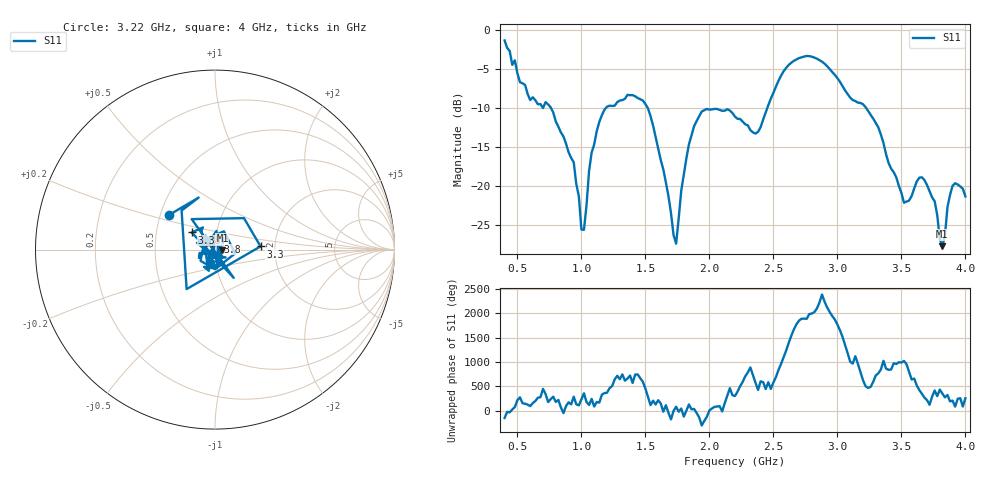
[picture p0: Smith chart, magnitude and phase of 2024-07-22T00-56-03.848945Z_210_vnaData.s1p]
!Created with skrf (http://scikit-rf.org).
# Hz S RI R 50.0
!freq ReS11 ImS11
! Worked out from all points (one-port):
!   181 points, 400 MHz to 4 GHz, reference 50 ohm
!   lowest |S11| = -27.7 dB at 3.82 GHz (marker M1), VSWR 1.09, Z = 54.3 - j0.475 ohm
!   |S11| at or under -10 dB: 763.4 MHz to 1.19 GHz (426.7 MHz wide, 43.7 % of centre); 1.52 GHz to 2.452 GHz (932.4 MHz wide, 47 % of centre); 3.226 GHz to end of sweep
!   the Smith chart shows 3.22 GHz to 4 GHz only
!   S11 on the Smith chart (normalised r, x): 3.22 GHz: 0.55, +0.24; 3.3 GHz: 1.68, +0.06; 3.38 GHz: 0.76, +0.15; 3.8 GHz: 1.02, +0.09; 4 GHz: 0.95, -0.16
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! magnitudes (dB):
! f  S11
! 400 MHz  -1.3
! 600 MHz  -9.0
! 860 MHz  -13.6
! 940 MHz  -16.9
! 1.02 GHz  -25.6
! 1.08 GHz  -15.7
! 1.14 GHz  -11.7
! 1.3 GHz  -9.0
! 1.52 GHz  -10.0
! 1.72 GHz  -26.2
! 1.76 GHz  -24.1
! 1.84 GHz  -14.6
! 1.94 GHz  -10.4
! 2.2 GHz  -11.1
! 2.38 GHz  -13.0
! 2.66 GHz  -3.9
! 2.88 GHz  -4.0
! 3.1 GHz  -8.6
! 3.22 GHz  -9.9
! 3.3 GHz  -11.9
! 3.38 GHz  -15.9
! 3.56 GHz  -21.8
! 3.68 GHz  -19.2
! 3.76 GHz  -21.9
! 3.8 GHz  -26.7
! 3.82 GHz  -27.7
! 3.9 GHz  -19.9
! 4 GHz  -21.3
